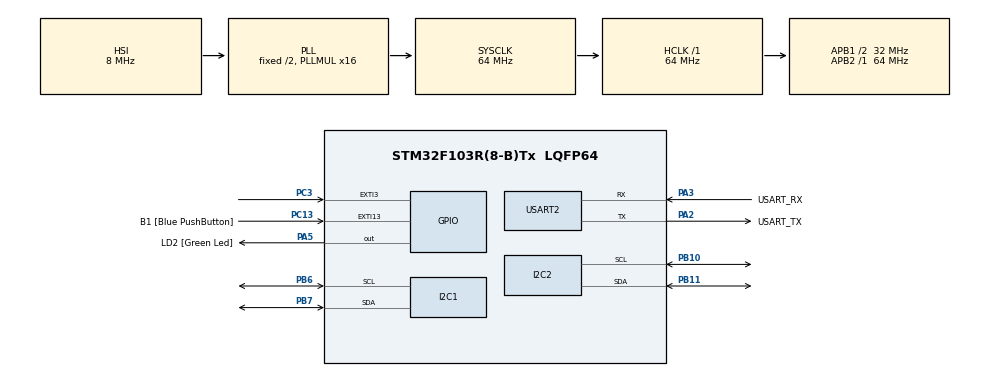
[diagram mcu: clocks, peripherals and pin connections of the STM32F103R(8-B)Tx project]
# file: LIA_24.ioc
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Mcu.Family=STM32F1
Mcu.Name=STM32F103R(8-B)Tx
Mcu.Package=LQFP64
NVIC.EXTI15_10_IRQn=true\:0\:0\:false\:false\:true\:true\:true\:true
NVIC.EXTI3_IRQn=true\:0\:0\:false\:false\:true\:true\:true\:true
NVIC.PriorityGroup=NVIC_PRIORITYGROUP_4
PA10.Signal=USART1_RX
PA13.GPIO_Label=TMS
PA13.Mode=Serial_Wire
PA13.Signal=SYS_JTMS-SWDIO
PA14.GPIO_Label=TCK
PA14.Mode=Serial_Wire
PA14.Signal=SYS_JTCK-SWCLK
PA2.GPIO_Label=USART_TX
PA2.GPIO_Mode=GPIO_MODE_AF_PP
PA2.GPIO_PuPd=GPIO_NOPULL
PA2.GPIO_Speed=GPIO_SPEED_FREQ_LOW
PA2.Mode=Asynchronous
PA2.Signal=USART2_TX
PA3.GPIO_Label=USART_RX
PA3.GPIO_Mode=GPIO_MODE_AF_PP
PA3.GPIO_PuPd=GPIO_NOPULL
PA3.GPIO_Speed=GPIO_SPEED_FREQ_LOW
PA3.Mode=Asynchronous
PA3.Signal=USART2_RX
PA5.GPIO_Label=LD2 [Green Led]
PA5.GPIO_ModeDefaultOutputPP=GPIO_MODE_OUTPUT_PP
PA5.GPIO_PuPd=GPIO_NOPULL
PA5.GPIO_Speed=GPIO_SPEED_FREQ_LOW
PA5.Signal=GPIO_Output
PA9.Signal=USART1_TX
PB10.Mode=I2C
PB10.Signal=I2C2_SCL
PB11.Mode=I2C
PB11.Signal=I2C2_SDA
PB3.GPIO_Label=SWO
PB3.Signal=SYS_JTDO-TRACESWO
PB6.Mode=I2C
PB6.Signal=I2C1_SCL
PB7.Mode=I2C
PB7.Signal=I2C1_SDA
PC13-TAMPER-RTC.GPIO_Label=B1 [Blue PushButton]
PC13-TAMPER-RTC.GPIO_PuPd=GPIO_NOPULL
PC13-TAMPER-RTC.Signal=GPXTI13
PC14-OSC32_IN.Mode=LSE-External-Oscillator
PC14-OSC32_IN.Signal=RCC_OSC32_IN
PC15-OSC32_OUT.Mode=LSE-External-Oscillator
PC15-OSC32_OUT.Signal=RCC_OSC32_OUT
PC3.GPIO_ModeDefaultEXTI=GPIO_MODE_IT_FALLING
PC3.GPIO_PuPd=GPIO_PULLUP
PC3.Signal=GPXTI3
PD0-OSC_IN.Mode=HSE-External-Clock-Source
PD0-OSC_IN.Signal=RCC_OSC_IN
PD1-OSC_OUT.Mode=HSE-External-Clock-Source
PD1-OSC_OUT.Signal=RCC_OSC_OUT
ProjectManager.HeapSize=0x200
ProjectManager.StackSize=0x400
ProjectManager.TargetToolchain=Makefile
RCC.AHBFreq_Value=64000000
RCC.APB1CLKDivider=RCC_HCLK_DIV2
RCC.APB1Freq_Value=32000000
RCC.APB1TimFreq_Value=64000000
RCC.APB2Freq_Value=64000000
RCC.APB2TimFreq_Value=64000000
RCC.HCLKFreq_Value=64000000
RCC.PLLMUL=RCC_PLL_MUL16
RCC.RTCClockSelection=RCC_RTCCLKSOURCE_LSE
RCC.SYSCLKFreq_VALUE=64000000
RCC.SYSCLKSource=RCC_SYSCLKSOURCE_PLLCLK
RCC.USBFreq_Value=64000000
USART2.VirtualMode=VM_ASYNC
board=NUCLEO-F103RB

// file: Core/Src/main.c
/* USER CODE BEGIN Header */
/**
  ******************************************************************************
  * @file           : main.c
  * @brief          : Main program body
  ******************************************************************************
  * @attention
  *
  * Copyright (c) 2024 STMicroelectronics.
  * All rights reserved.
  *
  * This software is licensed under terms that can be found in the LICENSE file
  * in the root directory of this software component.
  * If no LICENSE file comes with this software, it is provided AS-IS.
  *
  ******************************************************************************
  */
/* USER CODE END Header */
#include "main.h"

/* USER CODE BEGIN Includes */
#include <stdio.h>
#include "max_sensor.h"
#include "string.h"
#include "stm32f1xx_hal.h"
#include "uart.h"
#include <stdint.h>
#include "lis2dw12_reg.h"

/* USER CODE END Includes */

/* USER CODE BEGIN PD */
#define ROLL_MIN_THRESHOLD -80
#define ROLL_MAX_THRESHOLD -35
/* USER CODE END PD */

I2C_HandleTypeDef hi2c1;
I2C_HandleTypeDef hi2c2;
UART_HandleTypeDef huart2;
/* USER CODE BEGIN PV */

volatile uint8_t MAX30102_Flag = 0;
extern float current_roll;
extern float current_pitch;
/* USER CODE END PV */

void SystemClock_Config(void);
static void MX_GPIO_Init(void);
static void MX_USART2_UART_Init(void);
static void MX_I2C1_Init(void);
static void MX_I2C2_Init(void);

int main(void)
{

  /* MCU Configuration--------------------------------------------------------*/

  /* Reset of all peripherals, Initializes the Flash interface and the Systick. */

  HAL_Init();

  /* Configure the system clock */
  SystemClock_Config();

  /* Initialize all configured peripherals */
  MX_GPIO_Init();
  MX_USART2_UART_Init();
  MX_I2C1_Init();
  MX_I2C2_Init();
  /* USER CODE BEGIN 2 */
  uart_Init();
  FIFO_LED_DATA fifoledData;
  MAX30102_resetRegister();
  MAX30102_initFIFO();

  //Sampling & pulse width
  MAX30102_setSampleRate(_100SPS);
  MAX30102_setPulseWidth(_411_US);

  // LED current (mA)
  MAX30102_setLedCurrent(RED_LED, 5); // Saturates pretty easily depending on surrounding lights
  MAX30102_setLedCurrent(IR_LED, 1); // Shouldn't be needed

  MAX30102_resetFIFO();

  //Mode
  MAX30102_setMeasMode(HEART_RATE);

  /* USER CODE END 2 */
  /* Infinite loop */
  /* USER CODE BEGIN WHILE */
  while (1)
  {
    //lis2dw12_activity();
    //lis2dw12_single_tap();
    lis2dw12_orientation();
    if (current_roll < 80 && current_roll > 35)
    {
      fifoledData = MAX30102_read_FIFO();

      max_Sensor = MAX30102_update(fifoledData);

      MAX30102_resetFIFO();

      if (INTERRUPT == 1)
      {
        if (MAX30102_Flag)
        {
          MAX30102_Flag = 0;
          fifoledData = MAX30102_read_FIFO();

          max_Sensor = MAX30102_update(fifoledData);

          MAX30102_clearInterrupt();

        }
      }
      else
      {
        // fifoledData = MAX30102_read_FIFO();

        // max_Sensor = MAX30102_update(fifoledData);

        // MAX30102_resetFIFO();

        //HAL_Delay(10);
      }
    }
    else
    {
      //out of range
    }

    MAX30102_displayData();
    //   MAX30102_registerData();
    // }
    /* USER CODE END WHILE */

  }
}

void SystemClock_Config(void)
{
  RCC_OscInitTypeDef RCC_OscInitStruct = {0};
  RCC_ClkInitTypeDef RCC_ClkInitStruct = {0};

  /** Initializes the RCC Oscillators according to the specified parameters
  * in the RCC_OscInitTypeDef structure.
  */
  RCC_OscInitStruct.OscillatorType = RCC_OSCILLATORTYPE_HSI;
  RCC_OscInitStruct.HSIState = RCC_HSI_ON;
  RCC_OscInitStruct.HSICalibrationValue = RCC_HSICALIBRATION_DEFAULT;
  RCC_OscInitStruct.PLL.PLLState = RCC_PLL_ON;
  RCC_OscInitStruct.PLL.PLLSource = RCC_PLLSOURCE_HSI_DIV2;
  RCC_OscInitStruct.PLL.PLLMUL = RCC_PLL_MUL16;
  if (HAL_RCC_OscConfig(&RCC_OscInitStruct) != HAL_OK)
  {
    Error_Handler();
  }

  /** Initializes the CPU, AHB and APB buses clocks
  */
  RCC_ClkInitStruct.ClockType = RCC_CLOCKTYPE_HCLK|RCC_CLOCKTYPE_SYSCLK
                              |RCC_CLOCKTYPE_PCLK1|RCC_CLOCKTYPE_PCLK2;
  RCC_ClkInitStruct.SYSCLKSource = RCC_SYSCLKSOURCE_PLLCLK;
  RCC_ClkInitStruct.AHBCLKDivider = RCC_SYSCLK_DIV1;
  RCC_ClkInitStruct.APB1CLKDivider = RCC_HCLK_DIV2;
  RCC_ClkInitStruct.APB2CLKDivider = RCC_HCLK_DIV1;

  if (HAL_RCC_ClockConfig(&RCC_ClkInitStruct, FLASH_LATENCY_2) != HAL_OK)
  {
    Error_Handler();
  }
}

static void MX_I2C1_Init(void)
{

  hi2c1.Instance = I2C1;
  hi2c1.Init.ClockSpeed = 100000;
  hi2c1.Init.DutyCycle = I2C_DUTYCYCLE_2;
  hi2c1.Init.OwnAddress1 = 0;
  hi2c1.Init.AddressingMode = I2C_ADDRESSINGMODE_7BIT;
  hi2c1.Init.DualAddressMode = I2C_DUALADDRESS_DISABLE;
  hi2c1.Init.OwnAddress2 = 0;
  hi2c1.Init.GeneralCallMode = I2C_GENERALCALL_DISABLE;
  hi2c1.Init.NoStretchMode = I2C_NOSTRETCH_DISABLE;
  if (HAL_I2C_Init(&hi2c1) != HAL_OK)
  {
    Error_Handler();
  }

}

static void MX_I2C2_Init(void)
{

  hi2c2.Instance = I2C2;
  hi2c2.Init.ClockSpeed = 100000;
  hi2c2.Init.DutyCycle = I2C_DUTYCYCLE_2;
  hi2c2.Init.OwnAddress1 = 0;
  hi2c2.Init.AddressingMode = I2C_ADDRESSINGMODE_7BIT;
  hi2c2.Init.DualAddressMode = I2C_DUALADDRESS_DISABLE;
  hi2c2.Init.OwnAddress2 = 0;
  hi2c2.Init.GeneralCallMode = I2C_GENERALCALL_DISABLE;
  hi2c2.Init.NoStretchMode = I2C_NOSTRETCH_DISABLE;
  if (HAL_I2C_Init(&hi2c2) != HAL_OK)
  {
    Error_Handler();
  }

}

static void MX_USART2_UART_Init(void)
{

  huart2.Instance = USART2;
  huart2.Init.BaudRate = 115200;
  huart2.Init.WordLength = UART_WORDLENGTH_8B;
  huart2.Init.StopBits = UART_STOPBITS_1;
  huart2.Init.Parity = UART_PARITY_NONE;
  huart2.Init.Mode = UART_MODE_TX_RX;
  huart2.Init.HwFlowCtl = UART_HWCONTROL_NONE;
  huart2.Init.OverSampling = UART_OVERSAMPLING_16;
  if (HAL_UART_Init(&huart2) != HAL_OK)
  {
    Error_Handler();
  }

}

static void MX_GPIO_Init(void)
{
  GPIO_InitTypeDef GPIO_InitStruct = {0};

  /* GPIO Ports Clock Enable */
  __HAL_RCC_GPIOC_CLK_ENABLE();
  __HAL_RCC_GPIOD_CLK_ENABLE();
  __HAL_RCC_GPIOA_CLK_ENABLE();
  __HAL_RCC_GPIOB_CLK_ENABLE();

  /*Configure GPIO pin Output Level */
  HAL_GPIO_WritePin(LD2_GPIO_Port, LD2_Pin, GPIO_PIN_RESET);

  /*Configure GPIO pin : B1_Pin */
  GPIO_InitStruct.Pin = B1_Pin;
  GPIO_InitStruct.Mode = GPIO_MODE_IT_RISING;
  GPIO_InitStruct.Pull = GPIO_NOPULL;
  HAL_GPIO_Init(B1_GPIO_Port, &GPIO_InitStruct);

  /*Configure GPIO pin : PC3 */
  GPIO_InitStruct.Pin = GPIO_PIN_3;
  GPIO_InitStruct.Mode = GPIO_MODE_IT_FALLING;
  GPIO_InitStruct.Pull = GPIO_PULLUP;
  HAL_GPIO_Init(GPIOC, &GPIO_InitStruct);

  /*Configure GPIO pin : LD2_Pin */
  GPIO_InitStruct.Pin = LD2_Pin;
  GPIO_InitStruct.Mode = GPIO_MODE_OUTPUT_PP;
  GPIO_InitStruct.Pull = GPIO_NOPULL;
  GPIO_InitStruct.Speed = GPIO_SPEED_FREQ_LOW;
  HAL_GPIO_Init(LD2_GPIO_Port, &GPIO_InitStruct);

  /*Configure GPIO pin : PA9 */
  GPIO_InitStruct.Pin = GPIO_PIN_9;
  GPIO_InitStruct.Mode = GPIO_MODE_AF_PP;
  GPIO_InitStruct.Speed = GPIO_SPEED_FREQ_HIGH;
  HAL_GPIO_Init(GPIOA, &GPIO_InitStruct);

  /*Configure GPIO pin : PA10 */
  GPIO_InitStruct.Pin = GPIO_PIN_10;
  GPIO_InitStruct.Mode = GPIO_MODE_INPUT;
  GPIO_InitStruct.Pull = GPIO_NOPULL;
  HAL_GPIO_Init(GPIOA, &GPIO_InitStruct);

  /* EXTI interrupt init*/
  HAL_NVIC_SetPriority(EXTI3_IRQn, 0, 0);
  HAL_NVIC_EnableIRQ(EXTI3_IRQn);

  HAL_NVIC_SetPriority(EXTI15_10_IRQn, 0, 0);
  HAL_NVIC_EnableIRQ(EXTI15_10_IRQn);

}

void Error_Handler(void)
{
  __disable_irq();
  while (1)
  {
  }
}
